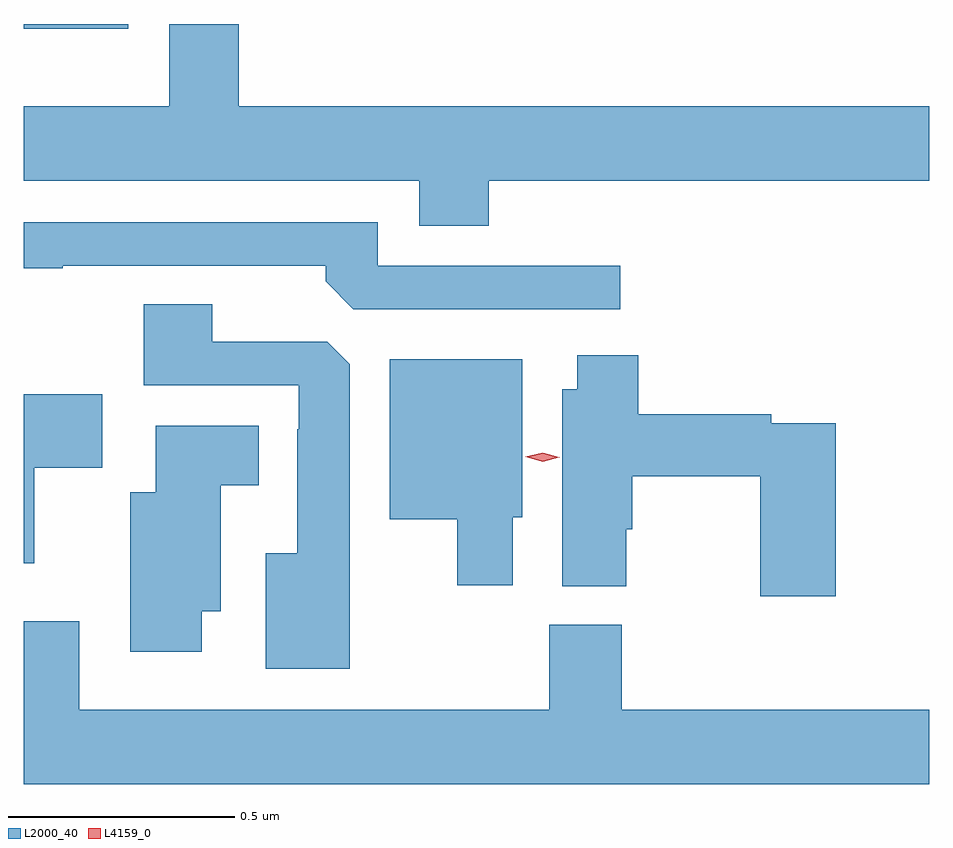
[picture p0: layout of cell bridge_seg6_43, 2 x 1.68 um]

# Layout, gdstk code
import gdstk
lib = gdstk.Library(unit=1e-6, precision=1e-09)
def R(c, l, rs):  # rectangles x0, y0, x1, y1
    for r in rs: c.add(gdstk.rectangle(r[:2], r[2:], *l))
def P(c, l, *ps):  # polygons
    for p in ps: c.add(gdstk.Polygon(p, *l))
L2000_40 = (2000, 40)
L4159_0 = (4159, 0)

bridge_seg6_43 = lib.new_cell('bridge_seg6_43')
R(bridge_seg6_43, L2000_40, [(1126.531,995.624,1126.762,995.634)])
P(bridge_seg6_43, L2000_40, [(1127.558,995.288),(1128.531,995.288),(1128.531,995.452),(1127.006,995.452),(1127.006,995.634),(1126.853,995.634),(1126.853,995.452),(1126.531,995.452),(1126.531,995.288),(1127.405,995.288),(1127.405,995.189),(1127.558,995.189)],
  [(1127.848,995.1),(1127.313,995.1),(1127.313,995.196),(1126.531,995.196),(1126.531,995.095),(1126.618,995.095),(1126.618,995.1),(1127.198,995.1),(1127.198,995.066),(1127.259,995.004),(1127.848,995.004)],
  [(1127.251,994.883),(1127.202,994.932),(1126.948,994.932),(1126.948,995.015),(1126.796,995.015),(1126.796,994.836),(1127.139,994.836),(1127.139,994.739),(1127.135,994.739),(1127.135,994.465),(1127.066,994.465),(1127.066,994.211),(1127.251,994.211)],
  [(1128.324,994.752),(1128.182,994.752),(1128.182,994.772),(1127.888,994.772),(1127.888,994.903),(1127.753,994.903),(1127.753,994.828),(1127.72,994.828),(1127.72,994.393),(1127.862,994.393),(1127.862,994.518),(1127.875,994.518),(1127.875,994.636),(1128.158,994.636),(1128.158,994.371),(1128.324,994.371)],
  [(1127.611,994.545),(1127.632,994.545),(1127.632,994.894),(1127.339,994.894),(1127.339,994.541),(1127.489,994.541),(1127.489,994.395),(1127.611,994.395)],
  [(1126.555,994.654),(1126.705,994.654),(1126.705,994.816),(1126.531,994.816),(1126.531,994.443),(1126.555,994.443)],
  [(1126.924,994.337),(1126.966,994.337),(1126.966,994.616),(1127.05,994.616),(1127.05,994.747),(1126.823,994.747),(1126.823,994.6),(1126.766,994.6),(1126.766,994.248),(1126.924,994.248)],
  [(1128.531,994.12),(1127.852,994.12),(1127.852,994.308),(1127.692,994.308),(1127.692,994.12),(1126.654,994.12),(1126.654,994.315),(1126.531,994.315),(1126.531,993.956),(1128.531,993.956)])
P(bridge_seg6_43, L4159_0, [(1127.677,994.668),(1127.639,994.678),(1127.639,994.678),(1127.639,994.678),(1127.677,994.687),(1127.714,994.677),(1127.715,994.677),(1127.714,994.677)])

lib.write_gds('bridge_seg6_43.gds')
